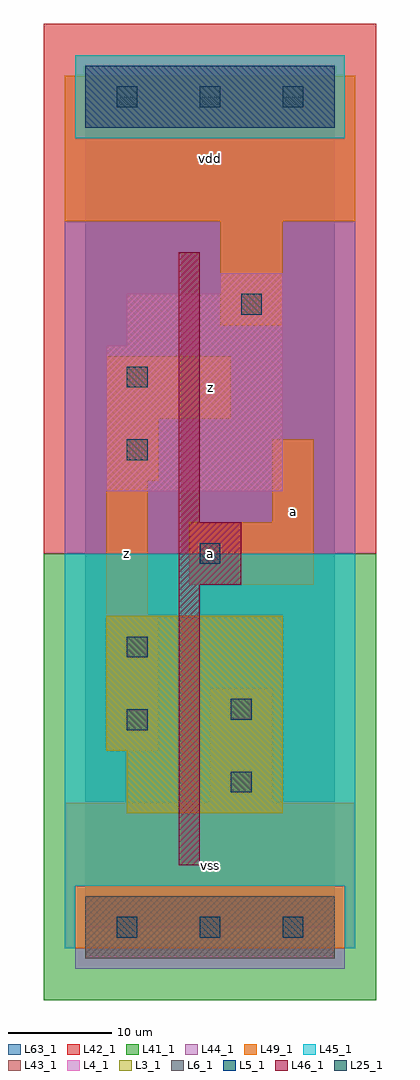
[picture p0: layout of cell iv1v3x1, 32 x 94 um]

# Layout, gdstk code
import gdstk
lib = gdstk.Library(unit=1e-6, precision=1e-09)
def R(c, l, rs):  # rectangles x0, y0, x1, y1
    for r in rs: c.add(gdstk.rectangle(r[:2], r[2:], *l))
def A(c, l, x, y, w, h, nx, ny, dx, dy):  # array of equal rectangles
    R(c, l, [(x+i*dx, y+j*dy, x+i*dx+w, y+j*dy+h) for i in range(nx) for j in range(ny)])
L3_1 = (3, 1)
L4_1 = (4, 1)
L5_1 = (5, 1)
L6_1 = (6, 1)
L25_1 = (25, 1)
L41_1 = (41, 1)
L42_1 = (42, 1)
L43_1 = (43, 1)
L44_1 = (44, 1)
L45_1 = (45, 1)
L46_1 = (46, 1)
L49_1 = (49, 1)
L63_1 = (63, 1)

iv1v3x1 = lib.new_cell('iv1v3x1')
R(iv1v3x1, L3_1, [(4,11,19,17), (2,17,19,30)])
R(iv1v3x1, L4_1, [(2,42,19,56), (4,56,19,61), (13,61,19,63)])
R(iv1v3x1, L5_1, [(0,77,24,83)])
R(iv1v3x1, L6_1, [(0,-3,24,3), (0,-3,24,3)])
A(iv1v3x1, L25_1, 3, -1, 2, 2, 3, 2, 8, 80)
R(iv1v3x1, L25_1, [(14,13,16,15), (4,19,6,21), (14,20,16,22), (4,26,6,28), (11,35,13,37), (4,45,6,47), (4,52,6,54), (15,59,17,61)])
R(iv1v3x1, L41_1, [(-4,-7,28,36)])
R(iv1v3x1, L42_1, [(-4,36,28,87)])
R(iv1v3x1, L43_1, [(0,-3,24,3), (4,11,19,17), (2,17,19,30), (2,42,19,56), (4,56,19,61), (13,61,19,63), (0,77,24,83)])
R(iv1v3x1, L44_1, [(-1,-4,25,4), (-2,36,26,76), (-2,76,-1,82), (25,76,26,82)])
R(iv1v3x1, L45_1, [(-2,-2,-1,4), (25,-2,26,4), (-2,4,26,36), (-1,76,25,84)])
R(iv1v3x1, L46_1, [(9,6,11,33), (9,33,15,39), (9,39,11,65)])
R(iv1v3x1, L49_1, [(-2,-2,26,12), (12,12,18,23), (2,17,7,30), (2,30,6,43), (10,33,22,39), (18,39,22,47), (2,43,7,49), (2,49,14,55), (13,58,19,68), (-2,68,26,82)])
R(iv1v3x1, L63_1, [(0,0,24,80)])
iv1v3x1.add(gdstk.Label('z', (4,36), layer=49, texttype=1))
iv1v3x1.add(gdstk.Label('vss', (12,6), layer=49, texttype=1))
iv1v3x1.add(gdstk.Label('a', (12,36), layer=49, texttype=1))
iv1v3x1.add(gdstk.Label('z', (12,52), layer=49, texttype=1))
iv1v3x1.add(gdstk.Label('vdd', (12,74), layer=49, texttype=1))
iv1v3x1.add(gdstk.Label('a', (20,40), layer=49, texttype=1))

lib.write_gds('iv1v3x1.gds')
